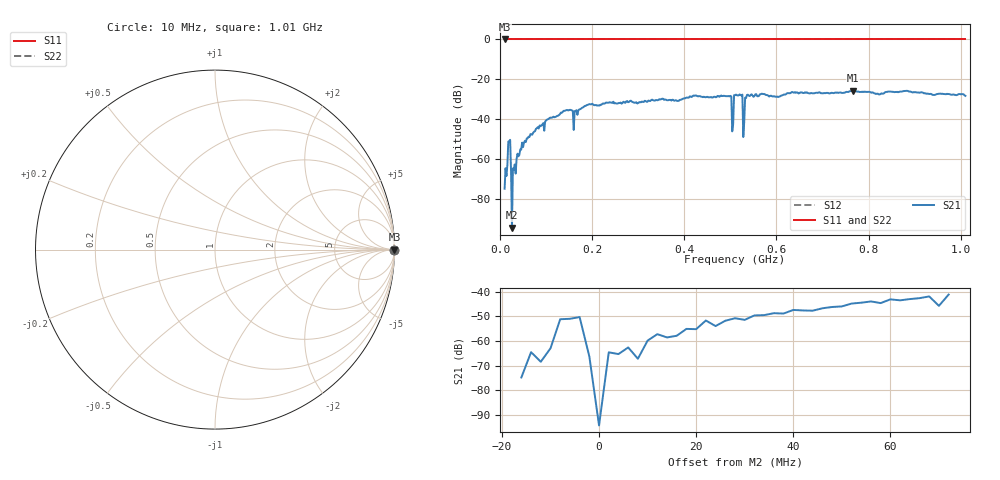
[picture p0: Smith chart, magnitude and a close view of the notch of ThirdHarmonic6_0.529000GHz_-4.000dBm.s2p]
! 8/15/2025 4:25:04 PM
! C:\ANRITSUVNA\TEMP\TEMP.S2P
! CHANNEL.1
! TR.MEASUREMENT
! RAW.DATA
! RF.CORRECTION.OFF
! AVERAGING.OFF
! IF.BANDWIDTH: 5KHZ
! SWEEPTYPE:  FREQ.SWEEP(Linear)
! Reference Plane Port Info
! PORT:  PORT1  PORT2
! DISTANCE:  0  m  0  m
! TIME:  0  s  0  s
! PHASE.OFFSET:  0  deg.  0  deg.
! LOSS:  0  dB  0  dB
! REF.LOSS:  0  dB  0  dB
! REF.FREQ:  0  Hz  0  Hz
! Power Info
! POWER:  -20  dBm  -20  dBm
! EFF.POWER:  -20  dBm  -20  dBm
! SOURCE.ATTEN:  0  dB  0  dB
! TEST.ATTEN:  0  dB  0  dB
# GHZ S RI R 50.0
! FREQ.GHZ  S11RE  S11IM  S21RE  S21IM  S12RE  S12IM  S22RE  S22IM
!; PortSelection: Port_12
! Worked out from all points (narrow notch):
!   501 points, 10 MHz to 1.01 GHz, reference 50 ohm
!   highest |S21| = -25.81 dB at 766 MHz (marker M1); lowest = -94.2 dB at 26 MHz (marker M2)
!   notch at M2: 65.7 dB deep, 12.2 MHz wide at half that depth
!   lowest |S11| = 0.0 dB at 10 MHz (marker M3)
!   |S11| at or under -10 dB: nowhere
!   |S22| runs from 0.0 to 0.0 dB; largest |S21 - S12| = 1
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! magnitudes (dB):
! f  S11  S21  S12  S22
! 10 MHz  0.0  -74.7  0.0  0.0
! 18 MHz  0.0  -51.2  0.0  0.0
! 20 MHz  0.0  -51.0  0.0  0.0
! 26 MHz  0.0  -94.2  0.0  0.0
! 30 MHz  0.0  -65.3  0.0  0.0
! 48 MHz  0.0  -51.7  0.0  0.0
! 82 MHz  0.0  -44.0  0.0  0.0
! 178 MHz  0.0  -34.3  0.0  0.0
! 344 MHz  0.0  -30.4  0.0  0.0
! 498 MHz  0.0  -28.6  0.0  0.0
! 502 MHz  0.0  -28.6  0.0  0.0
! 508 MHz  0.0  -28.0  0.0  0.0
! 510 MHz  0.0  -28.0  0.0  0.0
! 522 MHz  0.0  -27.9  0.0  0.0
! 526 MHz  0.0  -27.7  0.0  0.0
! 532 MHz  0.0  -29.2  0.0  0.0
! 536 MHz  0.0  -27.9  0.0  0.0
! 540 MHz  0.0  -28.3  0.0  0.0
! 678 MHz  0.0  -27.1  0.0  0.0
! 766 MHz  0.0  -25.8  0.0  0.0
! 844 MHz  0.0  -26.2  0.0  0.0
! 1.01 GHz  0.0  -28.4  0.0  0.0
